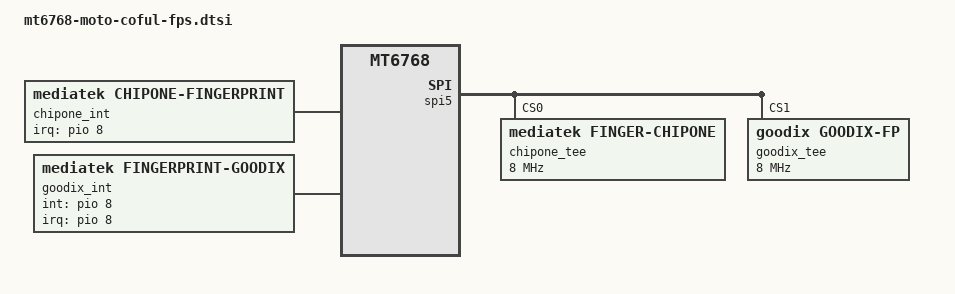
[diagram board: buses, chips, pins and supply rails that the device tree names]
&pio {

	fingerprint_irq: fingerprint_irq {
		pins_cmd_dat {
			pinmux = <PINMUX_GPIO8__FUNC_GPIO8>;
			slew-rate = <0>;
			bias-disable;
		};
	};

	fingerprint_reset_high: fingerprint_reset_high {
		pins_cmd_dat {
			pinmux = <PINMUX_GPIO6__FUNC_GPIO6>;
			slew-rate = <1>;
			output-high;
		};
	};

	fingerprint_reset_low: fingerprint_reset_low {
		pins_cmd_dat {
			pinmux = <PINMUX_GPIO6__FUNC_GPIO6>;
			slew-rate = <1>;
			output-low;
		};
	};
	fingerprint_ldo1p8_high: fingerprint_ldo1p8_high {
		pins_cmd_dat {
			pinmux = <PINMUX_GPIO22__FUNC_GPIO22>;
			slew-rate = <1>;
			output-high;
		};
	};

	fingerprint_ldo1p8_low: fingerprint_ldo1p8_low {
		pins_cmd_dat {
			pinmux = <PINMUX_GPIO22__FUNC_GPIO22>;
			slew-rate = <1>;
			output-low;
		};
	};

/*
        fingerprint_ldo3p3_high: fingerprint_ldo3p3_high {
		pins_cmd_dat {
			pinmux = <PINMUX_GPIO87__FUNC_GPIO87>;
			slew-rate = <1>;
			output-high;
		};
	};

	fingerprint_ldo3p3_low: fingerprint_ldo3p3_low {
		pins_cmd_dat {
			pinmux = <PINMUX_GPIO87__FUNC_GPIO87>;
			slew-rate = <1>;
			output-low;
		};
	};
*/
};

&odm {

        chipone_int: chipone_int {
                compatible = "mediatek,chipone-fingerprint";
                interrupt-parent = <&pio>;
                interrupts = <8 IRQ_TYPE_EDGE_RISING 8 0>;
                pinctrl-names = "fingerprint_reset_low", "fingerprint_reset_high" , "fingerprint_irq";
                pinctrl-0 = <&fingerprint_reset_low>;
                pinctrl-1 = <&fingerprint_reset_high>;
                pinctrl-2 = <&fingerprint_irq>;
                chipone,irq = <&pio 8 0>;
                status = "okay";
        };

	goodix_int: goodix_int {
		compatible = "mediatek,fingerprint-goodix";
		interrupt-parent = <&pio>;
		interrupts = <8 IRQ_TYPE_EDGE_RISING 8 0>;
		pinctrl-names = "fingerprint_irq", "fingerprint_reset_high", "fingerprint_reset_low";
		pinctrl-0 = <&fingerprint_irq>;
		pinctrl-1 = <&fingerprint_reset_high>;
		pinctrl-2 = <&fingerprint_reset_low>;
		int-gpios = <&pio 8 0>;
		status = "okay";
	};

};
/* 1.8v */
/* &mt_pmic_vio18_ldo_reg {
	regulator-boot-on;
	regulator-always-on;
}; */
/* 3.3v */
/*
&mt_pmic_vfp_ldo_reg {
	regulator-min-microvolt = <3300000>;
	regulator-max-microvolt = <3300000>;
	regulator-boot-on;
	regulator-always-on;
};
*/
&spi5 {
	#address-cells = <1>;
	#size-cells = <0>;
//        /delete-property/mediatek,pad-select;
	mediatek,pad-select = <0>, <1>;
//	mediatek,pad-select = <0>,<0>,<0>,<0>;
//        cs-gpios = <0>,<0>,<0>,<0>;
//        tee-only;
        chipone_tee@0 {
                status = "okay";
                compatible = "mediatek,finger-chipone";
                reg = <0>;
                spi-max-frequency = <8000000>;
                netlink-event = <30>;
        };

	goodix_tee@1 {
		status = "okay";
		compatible = "goodix,goodix-fp";
		reg = <1>;
		spi-max-frequency = <8000000>;
		netlink-event = <30>;
	};

};
